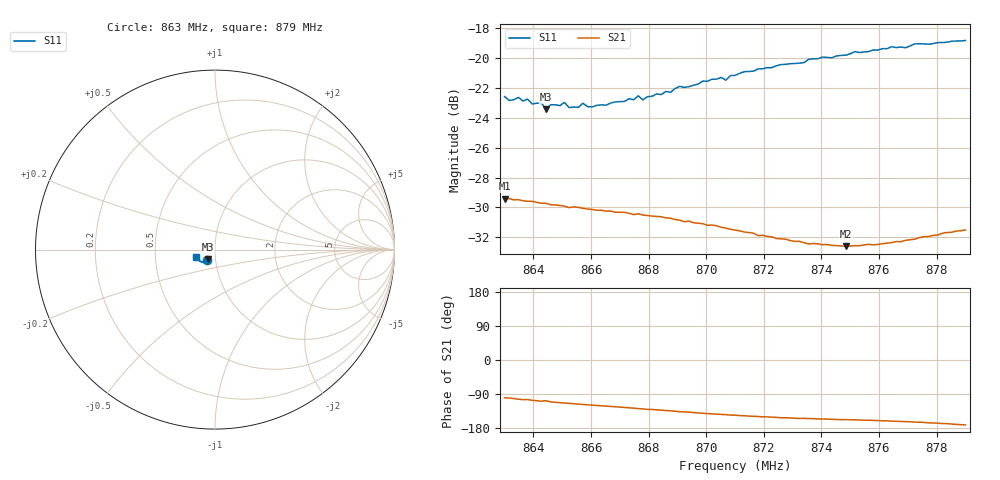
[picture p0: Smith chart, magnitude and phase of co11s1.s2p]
# HZ S RI R 50
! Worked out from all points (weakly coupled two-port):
!   101 points, 863 MHz to 879 MHz, reference 50 ohm
!   highest |S21| = -29.40 dB at 863 MHz (marker M1); lowest = -32.6 dB at 874.84 MHz (marker M2)
!   lowest |S11| = -23.4 dB at 864.44 MHz (marker M3), VSWR 1.14, Z = 46 - j5.07 ohm
!   |S11| at or under -10 dB: start of sweep to end of sweep
!   S12 and S22 are empty: the file has one direction only
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8.63e8  -0.0465 -0.058  -0.00584 -0.0334  0 0  0 0
8.6316e8  -0.0448 -0.0565  -0.00599 -0.0333  0 0  0 0
8.6348e8  -0.047 -0.057  -0.00774 -0.0327  0 0  0 0
8.6396e8  -0.0423 -0.0561  -0.00938 -0.0318  0 0  0 0
8.6428e8  -0.042 -0.0568  -0.0105 -0.0309  0 0  0 0
8.6444e8  -0.0392 -0.0549  -0.00967 -0.0312  0 0  0 0
8.6508e8  -0.0411 -0.058  -0.0127 -0.0293  0 0  0 0
8.6524e8  -0.0389 -0.0561  -0.0131 -0.0288  0 0  0 0
8.6572e8  -0.0383 -0.0593  -0.0144 -0.0279  0 0  0 0
8.6604e8  -0.037 -0.0578  -0.0151 -0.0273  0 0  0 0
8.6748e8  -0.0361 -0.0629  -0.018 -0.0239  0 0  0 0
8.6764e8  -0.0388 -0.0639  -0.0186 -0.0237  0 0  0 0
8.678e8  -0.0375 -0.062  -0.0188 -0.0231  0 0  0 0
8.6844e8  -0.0386 -0.0649  -0.0198 -0.0218  0 0  0 0
8.6908e8  -0.0424 -0.0684  -0.0208 -0.0198  0 0  0 0
8.7052e8  -0.0482 -0.0714  -0.0219 -0.0161  0 0  0 0
8.7068e8  -0.0472 -0.0699  -0.0219 -0.0158  0 0  0 0
8.71e8  -0.0508 -0.0713  -0.0219 -0.0151  0 0  0 0
8.7372e8  -0.0691 -0.0714  -0.0217 -0.0102  0 0  0 0
8.7484e8  -0.0767 -0.0675  -0.0216 -0.0091  0 0  0 0
8.7644e8  -0.0911 -0.0601  -0.0229 -0.00773  0 0  0 0
8.79e8  -0.1079 -0.0386  -0.0263 -0.004  0 0  0 0
